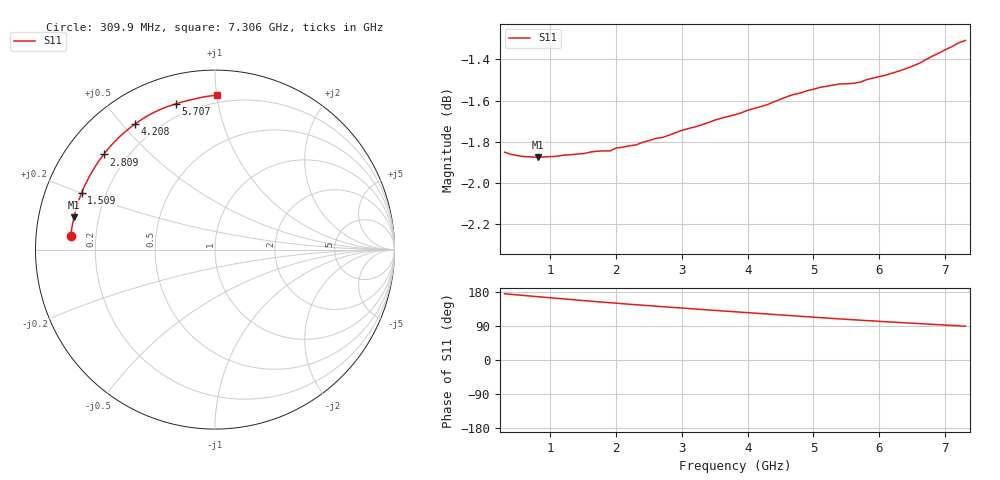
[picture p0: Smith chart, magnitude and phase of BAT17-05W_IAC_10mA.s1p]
! Infineon Technologies  Discrete & RF Semiconductors
! BAT17-05W
! IAC = 10 mA
! One-Port S-Parameters
# Hz  S  MA  R  50
!f  S11
!Hz  Mag  Ang
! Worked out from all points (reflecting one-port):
!   71 points, 309.9 MHz to 7.306 GHz, reference 50 ohm
!   lowest |S11| = -1.9 dB at 809.6 MHz (marker M1), VSWR 9.30, Z = 5.45 + j5.56 ohm
!   phase of S11 starts at 175 deg and turns -86 deg over the sweep
!   S11 on the Smith chart (normalised r, x): 309.9 MHz: 0.11, +0.04; 1.509 GHz: 0.11, +0.20; 2.809 GHz: 0.12, +0.36; 4.208 GHz: 0.12, +0.54; 5.707 GHz: 0.14, +0.76; 7.306 GHz: 0.15, +1.00
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3.0985e8  0.8081 174.8
6.097e8  0.8061 170.2
8.096e8  0.8058 167.2
1.0095e9  0.8061 164.1
1.2094e9  0.8067 161.2
1.50925e9  0.8075 156.8
1.6092e9  0.8082 155.4
1.8091e9  0.8087 152.5
2.10895e9  0.8104 148.5
2.4088e9  0.8126 144.5
2.6087e9  0.8144 142.0
2.8086e9  0.8159 139.5
3.0085e9  0.8181 137.0
3.2084e9  0.8197 134.5
3.50825e9  0.8228 130.8
3.8081e9  0.8252 127.2
4.2079e9  0.8291 122.5
4.50775e9  0.8325 118.9
4.70765e9  0.8347 116.5
4.90755e9  0.8364 114.2
5.2074e9  0.8385 110.7
5.4073e9  0.8395 108.4
5.6072e9  0.8398 106.2
5.70715e9  0.8404 105.1
6.007e9  0.843 102.0
6.50675e9  0.848 97.0
7.0065e9  0.8559 92.2
7.30635e9  0.8602 89.2
